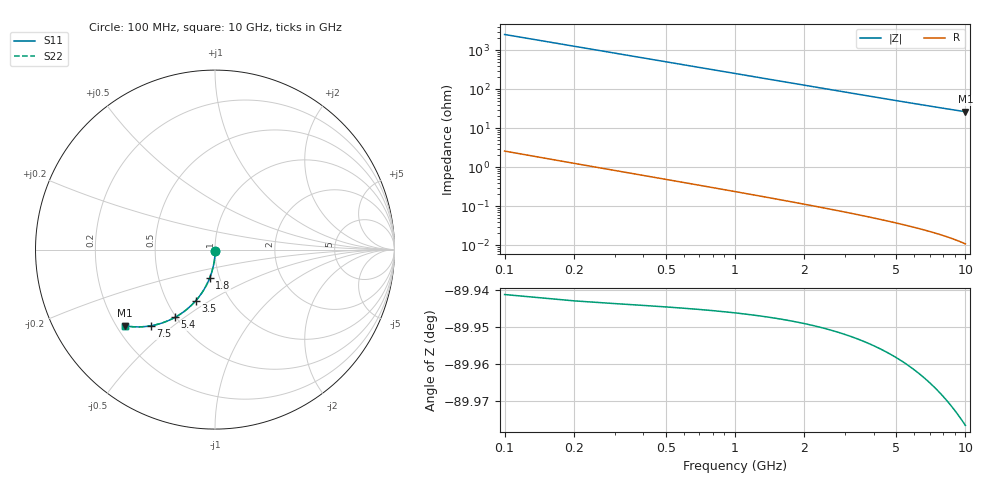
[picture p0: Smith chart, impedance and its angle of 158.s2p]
# Hz S RI R 50.00
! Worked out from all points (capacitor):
!   100 points, 100 MHz to 10 GHz, reference 50 ohm
!   read as one part in shunt: C = 630 fF near 100 MHz
!   lowest |Z| = 26.5 ohm at 10 GHz (marker M1)
!   S11 on the Smith chart (normalised r, x): 100 MHz: 1.00, -0.02; 1.8 GHz: 0.90, -0.29; 3.5 GHz: 0.70, -0.44; 5.4 GHz: 0.49, -0.46; 7.5 GHz: 0.34, -0.42; 10 GHz: 0.23, -0.35
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1e8  0.000548 -0.00916  0.9992 -0.0106  0.9992 -0.0106  0.000548 -0.00916
2e8  0.000251 -0.0183  0.9989 -0.0212  0.9989 -0.0212  0.000251 -0.0183
3e8  -0.000242 -0.0275  0.9984 -0.0319  0.9984 -0.0319  -0.000242 -0.0275
4e8  -0.000929 -0.0366  0.9977 -0.0424  0.9977 -0.0424  -0.000929 -0.0366
5e8  -0.00181 -0.0457  0.9968 -0.053  0.9968 -0.053  -0.00181 -0.0457
6e8  -0.00288 -0.0548  0.9957 -0.0635  0.9957 -0.0635  -0.00288 -0.0548
8e8  -0.0056 -0.0728  0.993 -0.0845  0.993 -0.0845  -0.0056 -0.0728
1.1e9  -0.0111 -0.0995  0.9874 -0.1156  0.9874 -0.1156  -0.0111 -0.0995
1.4e9  -0.0182 -0.1257  0.9802 -0.1462  0.9802 -0.1462  -0.0182 -0.1257
1.8e9  -0.0301 -0.1596  0.9682 -0.1859  0.9682 -0.1859  -0.0301 -0.1596
2.1e9  -0.0408 -0.184  0.9574 -0.2147  0.9574 -0.2147  -0.0408 -0.184
2.5e9  -0.057 -0.2151  0.9409 -0.2517  0.9409 -0.2517  -0.057 -0.2151
2.9e9  -0.0755 -0.2443  0.9222 -0.2868  0.9222 -0.2868  -0.0755 -0.2443
3.4e9  -0.1012 -0.2779  0.8961 -0.3278  0.8961 -0.3278  -0.1012 -0.2779
3.5e9  -0.1067 -0.2842  0.8906 -0.3356  0.8906 -0.3356  -0.1067 -0.2842
4.3e9  -0.1532 -0.3297  0.8433 -0.3929  0.8433 -0.3929  -0.1532 -0.3297
5.1e9  -0.2035 -0.3661  0.7922 -0.4412  0.7922 -0.4412  -0.2035 -0.3661
5.4e9  -0.2229 -0.3774  0.7724 -0.457  0.7724 -0.457  -0.2229 -0.3774
6.7e9  -0.3078 -0.4128  0.6858 -0.5118  0.6858 -0.5118  -0.3078 -0.4128
7.5e9  -0.3588 -0.4246  0.6335 -0.5357  0.6335 -0.5357  -0.3588 -0.4246
8.4e9  -0.4136 -0.4303  0.577 -0.5551  0.577 -0.5551  -0.4136 -0.4303
1e10  -0.5023 -0.4245  0.4848 -0.5741  0.4848 -0.5741  -0.5023 -0.4245
